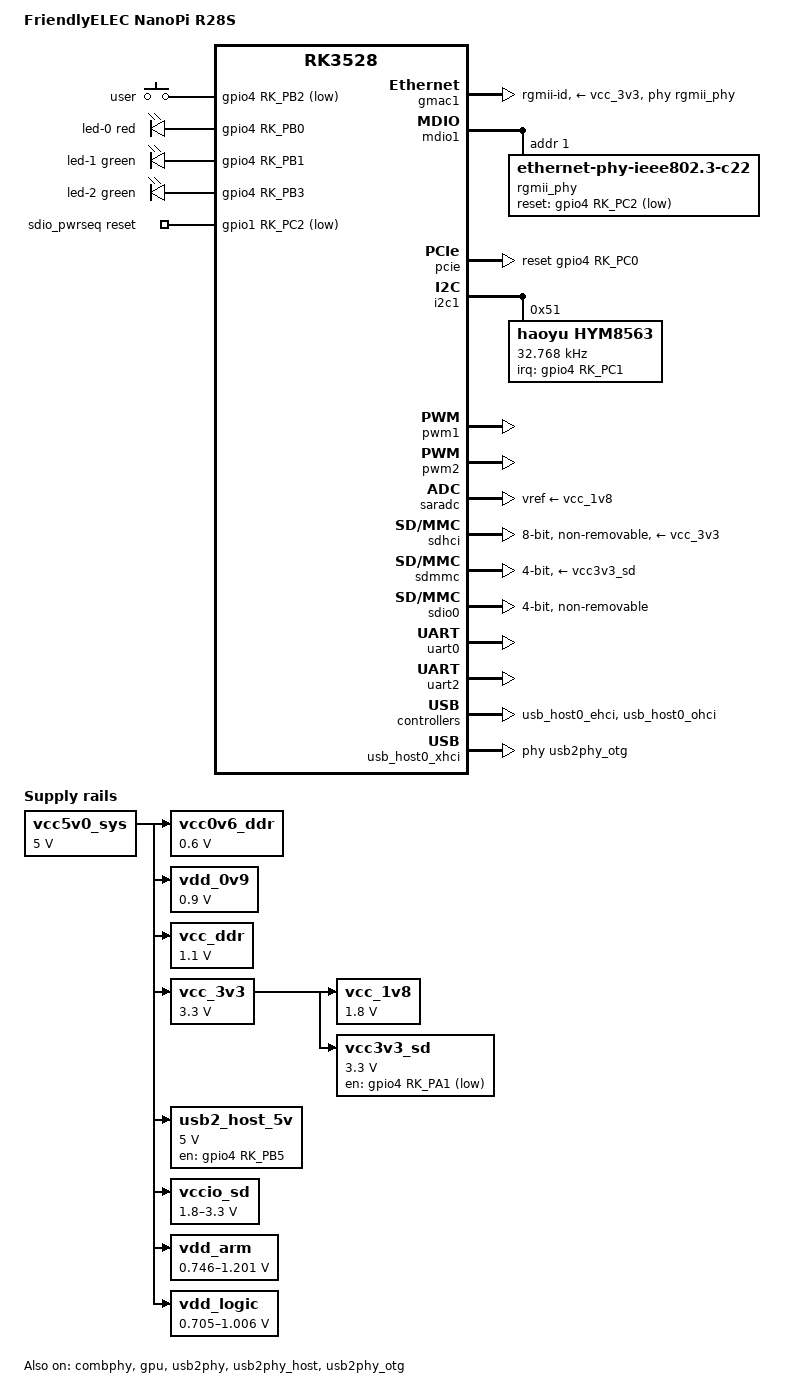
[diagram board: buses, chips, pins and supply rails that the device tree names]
// SPDX-License-Identifier: (GPL-2.0+ OR MIT)
/*
 * Device Tree for FriendlyELEC NanoPi R28S (RK3528A) — ImmortalWrt 主线 6.18
 *
 * 模板: 主线 rk3528-nanopi-zero2.dts (同为 RK3528A, 已上游验证)
 * 硬件定义: friendlyarm/kernel-rockchip nanopi6-v6.1.y / rk3528-nanopi-rev03.dts
 *   (model = "FriendlyElec NanoPi R28S")
 *
 * R28S 与 Zero2 的硬件差异:
 *   - 多第二网口: PCIe 上挂 RTL8111H 千兆 (Zero2 只有 gmac1 一个)
 *   - 多 AIC8800 WiFi6+BT5.3 (SDIO0 + UART2)
 *   - 3 个 LED (sys/led1/led2, Zero2 只有 2 个)
 *   - 多 USER(C) 按键 gpio4 RK_PB2
 *
 * 网口: 双千兆, 无 2.5G/RTL8125
 *   ethernet0 = gmac1 (RGMII -> RTL8211F PHY)
 *   ethernet1 = RTL8111H (PCIe 千兆网卡)
 *
 * rootfs 定位: 由 OpenWrt image 流程用 PARTUUID 注入, 这里不写死 root=.
 */

/dts-v1/;

#include <dt-bindings/gpio/gpio.h>
#include <dt-bindings/input/input.h>
#include <dt-bindings/leds/common.h>
#include <dt-bindings/pinctrl/rockchip.h>
#include <dt-bindings/pwm/pwm.h>
#include "rk3528.dtsi"

/ {
	model = "FriendlyELEC NanoPi R28S";
	compatible = "friendlyelec,nanopi-r28s", "rockchip,rk3528";

	aliases {
		ethernet0 = &gmac1;
		mmc0 = &sdhci;
		mmc1 = &sdmmc;
		serial0 = &uart0;
		serial2 = &uart2;
	};

	chosen {
		/* R28S 调试串口为 USB-UART (UART2), 1500000 8N1 */
		stdout-path = "serial2:1500000n8";
	};

	/* USER(C) 按键: gpio4 RK_PB2 低有效 (官方 rev03) */
	keys {
		compatible = "gpio-keys";
		pinctrl-names = "default";
		pinctrl-0 = <&key1_pin>;

		button-user {
			label = "user";
			linux,code = <BTN_1>;
			gpios = <&gpio4 RK_PB2 GPIO_ACTIVE_LOW>;
			debounce-interval = <50>;
			wakeup-source;
		};
	};

	/* 板载 3 个 GPIO LED: SYS(gpio4 PB0) / LED1(PB1) / LED2(PB3), 高有效 */
	leds {
		compatible = "gpio-leds";
		pinctrl-names = "default";
		pinctrl-0 = <&led_sys>, <&led1>, <&led2>;

		led-0 {
			color = <LED_COLOR_ID_RED>;
			default-state = "on";
			function = LED_FUNCTION_HEARTBEAT;
			gpios = <&gpio4 RK_PB0 GPIO_ACTIVE_HIGH>;
			linux,default-trigger = "heartbeat";
		};

		led-1 {
			color = <LED_COLOR_ID_GREEN>;
			default-state = "on";
			function = LED_FUNCTION_STATUS;
			gpios = <&gpio4 RK_PB1 GPIO_ACTIVE_HIGH>;
			linux,default-trigger = "default-on";
		};

		led-2 {
			color = <LED_COLOR_ID_GREEN>;
			function = LED_FUNCTION_STATUS;
			gpios = <&gpio4 RK_PB3 GPIO_ACTIVE_HIGH>;
		};
	};

	/* WiFi 电源时序 (AIC8800 on SDIO0): reset-gpios gpio1 RK_PC2 低有效 */
	sdio_pwrseq: sdio-pwrseq {
		compatible = "mmc-pwrseq-simple";
		pinctrl-names = "default";
		pinctrl-0 = <&wifi_enable_h>;
		post-power-on-delay-ms = <50>;
		reset-gpios = <&gpio1 RK_PC2 GPIO_ACTIVE_LOW>;
	};

	/* ---- 板级 regulator (沿用主线 Zero2 定义, RK3528 nanopi 系列共用电源树) ---- */
	vcc0v6_ddr: regulator-0v6-vcc-ddr {
		compatible = "regulator-fixed";
		regulator-name = "vcc0v6_ddr";
		regulator-always-on;
		regulator-boot-on;
		regulator-min-microvolt = <600000>;
		regulator-max-microvolt = <600000>;
		vin-supply = <&vcc5v0_sys>;
	};

	vdd_0v9: regulator-0v9-vdd {
		compatible = "regulator-fixed";
		regulator-name = "vdd_0v9";
		regulator-always-on;
		regulator-boot-on;
		regulator-min-microvolt = <900000>;
		regulator-max-microvolt = <900000>;
		vin-supply = <&vcc5v0_sys>;
	};

	vcc_ddr: regulator-1v1-vcc-ddr {
		compatible = "regulator-fixed";
		regulator-name = "vcc_ddr";
		regulator-always-on;
		regulator-boot-on;
		regulator-min-microvolt = <1100000>;
		regulator-max-microvolt = <1100000>;
		vin-supply = <&vcc5v0_sys>;
	};

	vcc_1v8: regulator-1v8-vcc {
		compatible = "regulator-fixed";
		regulator-name = "vcc_1v8";
		regulator-always-on;
		regulator-boot-on;
		regulator-min-microvolt = <1800000>;
		regulator-max-microvolt = <1800000>;
		vin-supply = <&vcc_3v3>;
	};

	vcc_3v3: regulator-3v3-vcc {
		compatible = "regulator-fixed";
		regulator-name = "vcc_3v3";
		regulator-always-on;
		regulator-boot-on;
		regulator-min-microvolt = <3300000>;
		regulator-max-microvolt = <3300000>;
		vin-supply = <&vcc5v0_sys>;
	};

	vcc3v3_sd: regulator-3v3-vcc-sd {
		compatible = "regulator-fixed";
		gpios = <&gpio4 RK_PA1 GPIO_ACTIVE_LOW>;
		pinctrl-names = "default";
		pinctrl-0 = <&sdmmc_pwren_l>;
		regulator-name = "vcc3v3_sd";
		regulator-min-microvolt = <3300000>;
		regulator-max-microvolt = <3300000>;
		vin-supply = <&vcc_3v3>;
	};

	vcc5v0_sys: regulator-5v0-vcc-sys {
		compatible = "regulator-fixed";
		regulator-name = "vcc5v0_sys";
		regulator-always-on;
		regulator-boot-on;
		regulator-min-microvolt = <5000000>;
		regulator-max-microvolt = <5000000>;
	};

	usb2_host_5v: regulator-5v0-usb2-host {
		compatible = "regulator-fixed";
		enable-active-high;
		gpios = <&gpio4 RK_PB5 GPIO_ACTIVE_HIGH>;
		pinctrl-names = "default";
		pinctrl-0 = <&usb20_host1_pwren>;
		regulator-name = "usb2_host_5v";
		regulator-min-microvolt = <5000000>;
		regulator-max-microvolt = <5000000>;
		vin-supply = <&vcc5v0_sys>;
	};

	vccio_sd: regulator-vccio-sd {
		compatible = "regulator-gpio";
		gpios = <&gpio4 RK_PB6 GPIO_ACTIVE_HIGH>;
		pinctrl-names = "default";
		pinctrl-0 = <&sdmmc_vol_ctrl_h>;
		regulator-name = "vccio_sd";
		regulator-min-microvolt = <1800000>;
		regulator-max-microvolt = <3300000>;
		states = <1800000 0x0>, <3300000 0x1>;
		vin-supply = <&vcc5v0_sys>;
	};

	vdd_arm: regulator-vdd-arm {
		compatible = "pwm-regulator";
		pwms = <&pwm1 0 5000 PWM_POLARITY_INVERTED>;
		pwm-supply = <&vcc5v0_sys>;
		regulator-name = "vdd_arm";
		regulator-always-on;
		regulator-boot-on;
		regulator-min-microvolt = <746000>;
		regulator-max-microvolt = <1201000>;
		regulator-settling-time-up-us = <250>;
	};

	vdd_logic: regulator-vdd-logic {
		compatible = "pwm-regulator";
		pwms = <&pwm2 0 5000 PWM_POLARITY_INVERTED>;
		pwm-supply = <&vcc5v0_sys>;
		regulator-name = "vdd_logic";
		regulator-always-on;
		regulator-boot-on;
		regulator-min-microvolt = <705000>;
		regulator-max-microvolt = <1006000>;
		regulator-settling-time-up-us = <250>;
	};
};

&cpu0 { cpu-supply = <&vdd_arm>; };
&cpu1 { cpu-supply = <&vdd_arm>; };
&cpu2 { cpu-supply = <&vdd_arm>; };
&cpu3 { cpu-supply = <&vdd_arm>; };

/* ---- 网口1: SoC 内置 gmac1, RGMII 接 RTL8211F 千兆 PHY (官方 rev03) ---- */
&gmac1 {
	clock_in_out = "output";
	phy-handle = <&rgmii_phy>;
	phy-mode = "rgmii-id";
	phy-supply = <&vcc_3v3>;
	pinctrl-names = "default";
	pinctrl-0 = <&rgmii_miim>, <&rgmii_tx_bus2>, <&rgmii_rx_bus2>,
		    <&rgmii_rgmii_clk>, <&rgmii_rgmii_bus>;
	status = "okay";
};

&mdio1 {
	rgmii_phy: ethernet-phy@1 {
		compatible = "ethernet-phy-ieee802.3-c22";
		reg = <0x1>;
		pinctrl-names = "default";
		pinctrl-0 = <&gmac1_rstn_l>;
		reset-assert-us = <20000>;
		reset-deassert-us = <100000>;
		reset-gpios = <&gpio4 RK_PC2 GPIO_ACTIVE_LOW>;
	};
};

/* ---- 网口2: PCIe 上 RTL8111H 千兆网卡 (官方 rev03: pcie reset gpio4 RK_PC0) ---- */
&combphy {
	status = "okay";
};

&pcie {
	pinctrl-names = "default";
	pinctrl-0 = <&pciem1_pins>;
	reset-gpios = <&gpio4 RK_PC0 GPIO_ACTIVE_HIGH>;
	status = "okay";
};

&gpu {
	mali-supply = <&vdd_logic>;
	status = "okay";
};

/* RTC: HYM8563 @ i2c1 (官方 rev03) */
&i2c1 {
	pinctrl-names = "default";
	pinctrl-0 = <&i2c1m0_xfer>;
	status = "okay";

	hym8563: rtc@51 {
		compatible = "haoyu,hym8563";
		reg = <0x51>;
		#clock-cells = <0>;
		clock-frequency = <32768>;
		clock-output-names = "hym8563";
		interrupt-parent = <&gpio4>;
		interrupts = <RK_PC1 IRQ_TYPE_LEVEL_LOW>;
		pinctrl-names = "default";
		pinctrl-0 = <&rtc_int_l>;
		wakeup-source;
	};
};

&pinctrl {
	ethernet {
		gmac1_rstn_l: gmac1-rstn-l {
			rockchip,pins = <4 RK_PC2 RK_FUNC_GPIO &pcfg_pull_none>;
		};
	};

	keys {
		key1_pin: key1-pin {
			rockchip,pins = <4 RK_PB2 RK_FUNC_GPIO &pcfg_pull_up>;
		};
	};

	leds {
		led_sys: led-sys {
			rockchip,pins = <4 RK_PB0 RK_FUNC_GPIO &pcfg_pull_none>;
		};

		led1: led1 {
			rockchip,pins = <4 RK_PB1 RK_FUNC_GPIO &pcfg_pull_none>;
		};

		led2: led2 {
			rockchip,pins = <4 RK_PB3 RK_FUNC_GPIO &pcfg_pull_none>;
		};
	};

	rtc {
		rtc_int_l: rtc-int-l {
			rockchip,pins = <4 RK_PC1 RK_FUNC_GPIO &pcfg_pull_up>;
		};
	};

	sdio-pwrseq {
		wifi_enable_h: wifi-enable-h {
			rockchip,pins = <1 RK_PC2 RK_FUNC_GPIO &pcfg_pull_none>;
		};
	};

	sdmmc {
		sdmmc_vol_ctrl_h: sdmmc-vol-ctrl-h {
			rockchip,pins = <4 RK_PB6 RK_FUNC_GPIO &pcfg_pull_none>;
		};

		sdmmc_pwren_l: sdmmc-pwren-l {
			rockchip,pins = <4 RK_PA1 RK_FUNC_GPIO &pcfg_pull_none>;
		};
	};

	usb {
		usb20_host1_pwren: usb20-host1-pwren {
			rockchip,pins = <4 RK_PB5 RK_FUNC_GPIO &pcfg_pull_none>;
		};
	};
};

&pwm1 {
	pinctrl-names = "default";
	pinctrl-0 = <&pwm1m0_pins>;
	status = "okay";
};

&pwm2 {
	pinctrl-names = "default";
	pinctrl-0 = <&pwm2m0_pins>;
	status = "okay";
};

&saradc {
	vref-supply = <&vcc_1v8>;
	status = "okay";
};

/* eMMC (sdhci, 8bit HS200) */
&sdhci {
	bus-width = <8>;
	cap-mmc-highspeed;
	mmc-hs200-1_8v;
	no-sd;
	no-sdio;
	non-removable;
	vmmc-supply = <&vcc_3v3>;
	vqmmc-supply = <&vcc_1v8>;
	status = "okay";
};

/* microSD (sdmmc) */
&sdmmc {
	bus-width = <4>;
	cap-mmc-highspeed;
	cap-sd-highspeed;
	disable-wp;
	sd-uhs-sdr104;
	vmmc-supply = <&vcc3v3_sd>;
	vqmmc-supply = <&vccio_sd>;
	status = "okay";
};

/* WiFi: AIC8800 on SDIO0 (节点保留; 主线暂无 aic8800 驱动, 不影响有线启动) */
&sdio0 {
	max-frequency = <150000000>;
	no-sd;
	no-mmc;
	supports-sdio;
	bus-width = <4>;
	disable-wp;
	cap-sdio-irq;
	keep-power-in-suspend;
	non-removable;
	mmc-pwrseq = <&sdio_pwrseq>;
	pinctrl-names = "default";
	pinctrl-0 = <&sdio0_bus4>, <&sdio0_cmd>, <&sdio0_clk>;
	vqmmc-supply = <&vcc_1v8>;
	status = "okay";
};

/* BT: AIC8800 on UART2 (与调试串口同引脚, 主线暂无驱动, 保留 okay 供 uart 调试) */
&uart0 {
	pinctrl-names = "default";
	pinctrl-0 = <&uart0m0_xfer>;
	status = "okay";
};

&uart2 {
	pinctrl-names = "default";
	pinctrl-0 = <&uart2m1_xfer>, <&uart2m1_ctsn>, <&uart2m1_rtsn>;
	status = "okay";
};

/* USB-C (USB2.0 OTG, 供电+刷机) */
&usb_host0_ehci {
	status = "okay";
};

&usb_host0_ohci {
	status = "okay";
};

&usb_host0_xhci {
	extcon = <&usb2phy>;
	maximum-speed = "high-speed";
	phys = <&usb2phy_otg>;
	phy-names = "usb2-phy";
	status = "okay";
};

&usb2phy {
	status = "okay";
};

&usb2phy_host {
	phy-supply = <&usb2_host_5v>;
	status = "okay";
};

&usb2phy_otg {
	status = "okay";
};
